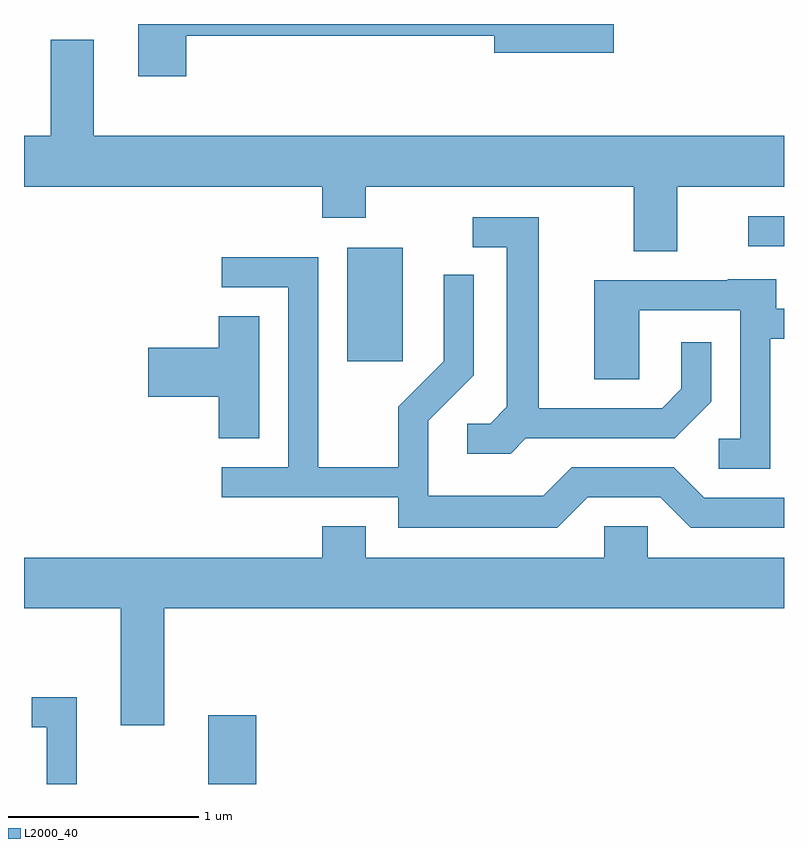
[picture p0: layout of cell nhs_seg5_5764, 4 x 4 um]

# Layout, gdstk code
import gdstk
lib = gdstk.Library(unit=1e-6, precision=1e-09)
def R(c, l, rs):  # rectangles x0, y0, x1, y1
    for r in rs: c.add(gdstk.rectangle(r[:2], r[2:], *l))
def P(c, l, *ps):  # polygons
    for p in ps: c.add(gdstk.Polygon(p, *l))
L2000_40 = (2000, 40)

nhs_seg5_5764 = lib.new_cell('nhs_seg5_5764')
R(nhs_seg5_5764, L2000_40, [(356.581,1478.072,356.834,1478.434), (357.311,1480.296,357.604,1480.894), (359.423,1480.901,359.611,1481.059)])
P(nhs_seg5_5764, L2000_40, [(356.464,1482.011),(358.086,1482.011),(358.086,1481.921),(358.714,1481.921),(358.714,1482.072),(356.211,1482.072),(356.211,1481.796),(356.464,1481.796)],
  [(359.049,1481.216),(359.611,1481.216),(359.611,1481.484),(355.979,1481.484),(355.979,1481.989),(355.751,1481.989),(355.751,1481.484),(355.611,1481.484),(355.611,1481.216),(357.181,1481.216),(357.181,1481.051),(357.409,1481.051),(357.409,1481.216),(358.821,1481.216),(358.821,1480.876),(359.049,1480.876)],
  [(358.252,1479.891),(359.037,1479.891),(359.229,1480.084),(359.229,1480.398),(359.071,1480.398),(359.071,1480.152),(358.969,1480.049),(358.319,1480.049),(358.319,1481.054),(357.973,1481.054),(357.973,1480.896),(358.151,1480.896),(358.151,1480.057),(358.064,1479.969),(357.943,1479.969),(357.943,1479.811),(358.172,1479.811)],
  [(358.577,1479.581),(358.959,1479.581),(359.119,1479.421),(359.611,1479.421),(359.611,1479.579),(359.192,1479.579),(359.032,1479.739),(358.494,1479.739),(358.344,1479.589),(357.739,1479.589),(357.739,1479.984),(357.979,1480.224),(357.979,1480.753),(357.821,1480.753),(357.821,1480.297),(357.581,1480.057),(357.581,1479.739),(357.159,1479.739),(357.159,1480.844),(356.653,1480.844),(356.653,1480.686),(357.001,1480.686),(357.001,1479.739),(356.653,1479.739),(356.653,1479.581),(357.581,1479.581),(357.581,1479.421),(358.417,1479.421)],
  [(359.539,1480.416),(359.611,1480.416),(359.611,1480.574),(359.569,1480.574),(359.569,1480.729),(359.315,1480.729),(359.315,1480.724),(358.611,1480.724),(358.611,1480.201),(358.849,1480.201),(358.849,1480.566),(359.381,1480.566),(359.381,1479.889),(359.268,1479.889),(359.268,1479.731),(359.539,1479.731)],
  [(356.849,1480.534),(356.636,1480.534),(356.636,1480.369),(356.266,1480.369),(356.266,1480.111),(356.636,1480.111),(356.636,1479.891),(356.849,1479.891)],
  [(356.349,1478.996),(359.611,1478.996),(359.611,1479.264),(358.894,1479.264),(358.894,1479.429),(358.666,1479.429),(358.666,1479.264),(357.409,1479.264),(357.409,1479.429),(357.181,1479.429),(357.181,1479.264),(355.611,1479.264),(355.611,1478.996),(356.121,1478.996),(356.121,1478.381),(356.349,1478.381)],
  [(355.889,1478.529),(355.653,1478.529),(355.653,1478.371),(355.731,1478.371),(355.731,1478.072),(355.889,1478.072)])

lib.write_gds('nhs_seg5_5764.gds')
